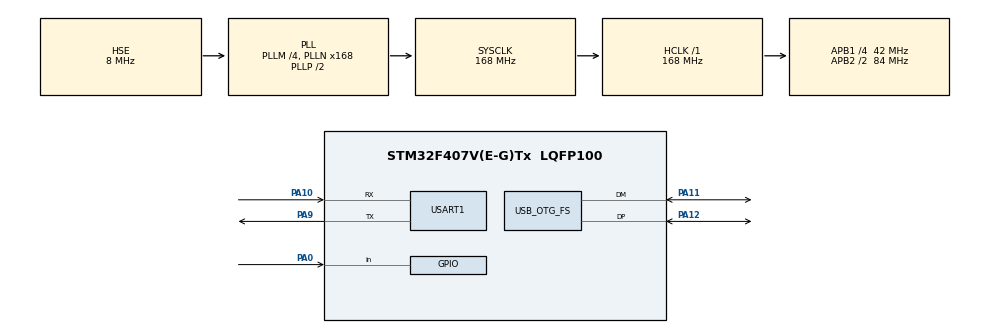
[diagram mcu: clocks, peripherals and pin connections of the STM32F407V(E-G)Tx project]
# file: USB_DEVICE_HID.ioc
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Mcu.Family=STM32F4
Mcu.Name=STM32F407V(E-G)Tx
Mcu.Package=LQFP100
NVIC.OTG_FS_IRQn=true\:0\:0\:false\:false\:true\:true\:true\:true
NVIC.PriorityGroup=NVIC_PRIORITYGROUP_4
PA0-WKUP.Signal=GPIO_Input
PA10.Mode=Asynchronous
PA10.Signal=USART1_RX
PA11.Mode=Device_Only
PA11.Signal=USB_OTG_FS_DM
PA12.Mode=Device_Only
PA12.Signal=USB_OTG_FS_DP
PA9.Mode=Asynchronous
PA9.Signal=USART1_TX
PH0-OSC_IN.Mode=HSE-External-Oscillator
PH0-OSC_IN.Signal=RCC_OSC_IN
PH1-OSC_OUT.Mode=HSE-External-Oscillator
PH1-OSC_OUT.Signal=RCC_OSC_OUT
ProjectManager.HeapSize=0x200
ProjectManager.StackSize=0x400
ProjectManager.TargetToolchain=MDK-ARM V5
RCC.48MHZClocksFreq_Value=48000000
RCC.AHBFreq_Value=168000000
RCC.APB1CLKDivider=RCC_HCLK_DIV4
RCC.APB1Freq_Value=42000000
RCC.APB1TimFreq_Value=84000000
RCC.APB2CLKDivider=RCC_HCLK_DIV2
RCC.APB2Freq_Value=84000000
RCC.APB2TimFreq_Value=168000000
RCC.CortexFreq_Value=168000000
RCC.HCLKFreq_Value=168000000
RCC.HSE_VALUE=8000000
RCC.HSI_VALUE=16000000
RCC.LSE_VALUE=32768
RCC.PLLM=4
RCC.PLLN=168
RCC.PLLQ=7
RCC.SYSCLKFreq_VALUE=168000000
RCC.SYSCLKSource=RCC_SYSCLKSOURCE_PLLCLK
RCC.VCOOutputFreq_Value=336000000
USART1.VirtualMode=VM_ASYNC
USB_DEVICE.CLASS_NAME_FS=HID
USB_DEVICE.USBD_DEBUG_LEVEL-HID_FS=2
USB_DEVICE.VirtualMode-HID_FS=Hid
USB_DEVICE.VirtualModeFS=Hid_FS
USB_OTG_FS.VirtualMode=Device_Only
VP_USB_DEVICE_VS_USB_DEVICE_HID_FS.Mode=HID_FS
board=USB_DEVICE_HID

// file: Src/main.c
/* USER CODE BEGIN Header */
/**
  ******************************************************************************
  * @file           : main.c
  * @brief          : Main program body
  ******************************************************************************
  * @attention
  *
  * Copyright (c) 2023 STMicroelectronics.
  * All rights reserved.
  *
  * This software is licensed under terms that can be found in the LICENSE file
  * in the root directory of this software component.
  * If no LICENSE file comes with this software, it is provided AS-IS.
  *
  ******************************************************************************
  */
/* USER CODE END Header */
#include "main.h"
#include "usb_device.h"

/* USER CODE BEGIN Includes */
#include "main.h"
#include "usbd_hid.h"
/* USER CODE END Includes */

UART_HandleTypeDef huart1;

/* USER CODE BEGIN PV */
/* Private variables ---------------------------------------------------------*/
#define CURSOR_STEP	1
extern USBD_HandleTypeDef hUsbDeviceFS;
uint8_t HID_Buffer[4];

	#ifdef __GNUC__
  /* With GCC, small printf (option LD Linker->Libraries->Small printf
     set to 'Yes') calls __io_putchar() */
  #define PUTCHAR_PROTOTYPE int __io_putchar(int ch)
#else
  #define PUTCHAR_PROTOTYPE int fputc(int ch, FILE *f)
#endif /* __GNUC__ */

/* USER CODE END PV */

void SystemClock_Config(void);
static void MX_GPIO_Init(void);
static void MX_USART1_UART_Init(void);
/* USER CODE BEGIN PFP */
/* Private function prototypes -----------------------------------------------*/

/* USER CODE END PFP */

/* USER CODE BEGIN 0 */
static void GetPointerData(uint8_t*pbuf)
{
	static uint8_t cnt=0; //счетчик циклов
	static uint8_t drct=0;//направление курсора
	int8_t x=0,y=0,but=0;
	if((cnt<20)&&(drct==0))
	{
		x=CURSOR_STEP;
		y=CURSOR_STEP;
		cnt++;
	}
	else if (cnt>0)
	{
		drct=1;
		x=-CURSOR_STEP;
		y=-CURSOR_STEP;
		cnt--;
	}
	else drct=0;
	if(HAL_GPIO_ReadPin(GPIOA,GPIO_PIN_0)==GPIO_PIN_SET)
	{
		but=2;
	}
	else but=0;
	pbuf[0]=but;
	pbuf[1]=x;
	pbuf[2]=y;
	pbuf[3]=0;
}
/* USER CODE END 0 */

int main(void)
{

  /* MCU Configuration--------------------------------------------------------*/

  /* Reset of all peripherals, Initializes the Flash interface and the Systick. */
  HAL_Init();

  /* Configure the system clock */
  SystemClock_Config();

  /* Initialize all configured peripherals */
  MX_GPIO_Init();
  MX_USART1_UART_Init();
  MX_USB_DEVICE_Init();
  /* USER CODE BEGIN 2 */

	printf("Start system\r\n");
  /* USER CODE END 2 */

  /* Infinite loop */
  /* USER CODE BEGIN WHILE */
  while (1)
  {
		HAL_Delay(100);
		GetPointerData(HID_Buffer);
		USBD_HID_SendReport(&hUsbDeviceFS,HID_Buffer,4);
    /* USER CODE END WHILE */

  }
}

void SystemClock_Config(void)
{
  RCC_OscInitTypeDef RCC_OscInitStruct = {0};
  RCC_ClkInitTypeDef RCC_ClkInitStruct = {0};

  /** Configure the main internal regulator output voltage
  */
  __HAL_RCC_PWR_CLK_ENABLE();
  __HAL_PWR_VOLTAGESCALING_CONFIG(PWR_REGULATOR_VOLTAGE_SCALE1);

  /** Initializes the RCC Oscillators according to the specified parameters
  * in the RCC_OscInitTypeDef structure.
  */
  RCC_OscInitStruct.OscillatorType = RCC_OSCILLATORTYPE_HSE;
  RCC_OscInitStruct.HSEState = RCC_HSE_ON;
  RCC_OscInitStruct.PLL.PLLState = RCC_PLL_ON;
  RCC_OscInitStruct.PLL.PLLSource = RCC_PLLSOURCE_HSE;
  RCC_OscInitStruct.PLL.PLLM = 4;
  RCC_OscInitStruct.PLL.PLLN = 168;
  RCC_OscInitStruct.PLL.PLLP = RCC_PLLP_DIV2;
  RCC_OscInitStruct.PLL.PLLQ = 7;
  if (HAL_RCC_OscConfig(&RCC_OscInitStruct) != HAL_OK)
  {
    Error_Handler();
  }

  /** Initializes the CPU, AHB and APB buses clocks
  */
  RCC_ClkInitStruct.ClockType = RCC_CLOCKTYPE_HCLK|RCC_CLOCKTYPE_SYSCLK
                              |RCC_CLOCKTYPE_PCLK1|RCC_CLOCKTYPE_PCLK2;
  RCC_ClkInitStruct.SYSCLKSource = RCC_SYSCLKSOURCE_PLLCLK;
  RCC_ClkInitStruct.AHBCLKDivider = RCC_SYSCLK_DIV1;
  RCC_ClkInitStruct.APB1CLKDivider = RCC_HCLK_DIV4;
  RCC_ClkInitStruct.APB2CLKDivider = RCC_HCLK_DIV2;

  if (HAL_RCC_ClockConfig(&RCC_ClkInitStruct, FLASH_LATENCY_5) != HAL_OK)
  {
    Error_Handler();
  }
}

static void MX_USART1_UART_Init(void)
{

  huart1.Instance = USART1;
  huart1.Init.BaudRate = 115200;
  huart1.Init.WordLength = UART_WORDLENGTH_8B;
  huart1.Init.StopBits = UART_STOPBITS_1;
  huart1.Init.Parity = UART_PARITY_NONE;
  huart1.Init.Mode = UART_MODE_TX_RX;
  huart1.Init.HwFlowCtl = UART_HWCONTROL_NONE;
  huart1.Init.OverSampling = UART_OVERSAMPLING_16;
  if (HAL_UART_Init(&huart1) != HAL_OK)
  {
    Error_Handler();
  }

}

static void MX_GPIO_Init(void)
{
  GPIO_InitTypeDef GPIO_InitStruct = {0};

  /* GPIO Ports Clock Enable */
  __HAL_RCC_GPIOH_CLK_ENABLE();
  __HAL_RCC_GPIOA_CLK_ENABLE();

  /*Configure GPIO pin : PA0 */
  GPIO_InitStruct.Pin = GPIO_PIN_0;
  GPIO_InitStruct.Mode = GPIO_MODE_INPUT;
  GPIO_InitStruct.Pull = GPIO_NOPULL;
  HAL_GPIO_Init(GPIOA, &GPIO_InitStruct);

}

/* USER CODE BEGIN 4 */

PUTCHAR_PROTOTYPE
{
  /* Place your implementation of fputc here */
  /* e.g. write a character to the EVAL_COM1 and Loop until the end of transmission */
  HAL_UART_Transmit(&huart1, (uint8_t *)&ch, 1, 0xFFFF);

  return ch;
}
/* USER CODE END 4 */

void Error_Handler(void)
{
  __disable_irq();
  while (1)
  {
  }
}
